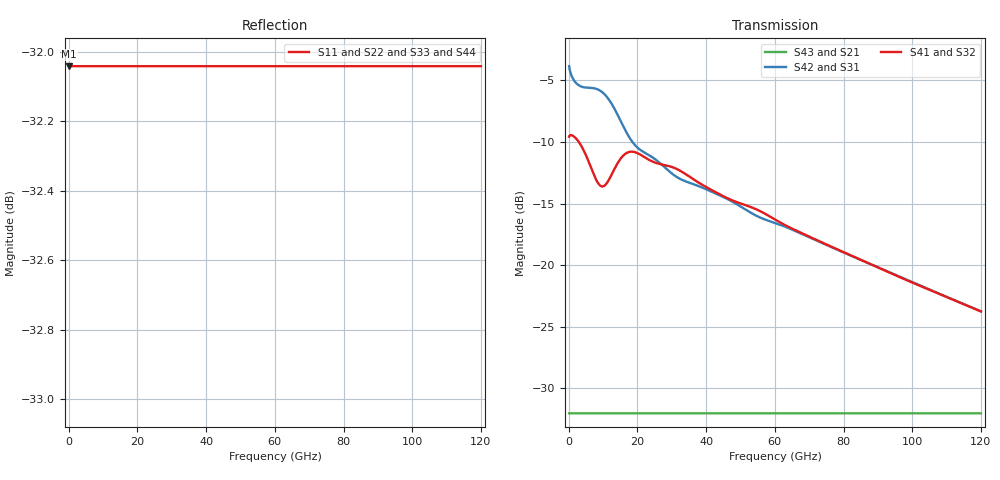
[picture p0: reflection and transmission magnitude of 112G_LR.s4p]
! Created with skrf 1.12.0 (http://scikit-rf.org).
# Hz S RI R 50.0
!freq ReS11 ImS11 ReS12 ImS12 ReS13 ImS13
! ReS14 ImS14
! ReS21 ImS21 ReS22 ImS22 ReS23 ImS23
! ReS24 ImS24
! ReS31 ImS31 ReS32 ImS32 ReS33 ImS33
! ReS34 ImS34
! ReS41 ImS41 ReS42 ImS42 ReS43 ImS43
! ReS44 ImS44
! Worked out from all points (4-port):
!   1200 points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, 100 MHz to 120 GHz, reference 50 ohm
!   strongest paths, dB at 100 MHz, 30.1 GHz, 60.1 GHz, 90.1 GHz, 120 GHz:
!     S41: -9.6, -12.0, -16.3, -20.2, -23.8
!     S32: -9.6, -12.0, -16.3, -20.2, -23.8
!     S42: -3.8, -12.6, -16.6, -20.2, -23.8
!     S31: -3.8, -12.6, -16.6, -20.2, -23.8
!     S43: -32.0, -32.0, -32.0, -32.0, -32.0
!     S21: -32.0, -32.0, -32.0, -32.0, -32.0
!   lowest |S11| = -32.0 dB at 100 MHz (marker M1), VSWR 1.05, Z = 52.6 + j0 ohm
!   |S11| at or under -10 dB: start of sweep to end of sweep
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1e8  0.025 0  -0.025 0  0.6376 -0.0787  0.331 -0.0292
     -0.025 0  0.025 0  0.331 -0.0292  0.6376 -0.0787
     0.6376 -0.0787  0.331 -0.0292  0.025 0  -0.025 0
     0.331 -0.0292  0.6376 -0.0787  -0.025 0  0.025 0
3.4e9  0.025 0  -0.025 0  -0.5313 -0.0369  -0.3056 0.045
       -0.025 0  0.025 0  -0.3056 0.045  -0.5313 -0.0369
       -0.5313 -0.0369  -0.3056 0.045  0.025 0  -0.025 0
       -0.3056 0.045  -0.5313 -0.0369  -0.025 0  0.025 0
6.9e9  0.025 0  -0.025 0  0.5237 0.00471  0.2356 -0.0467
       -0.025 0  0.025 0  0.2356 -0.0467  0.5237 0.00471
       0.5237 0.00471  0.2356 -0.0467  0.025 0  -0.025 0
       0.2356 -0.0467  0.5237 0.00471  -0.025 0  0.025 0
1.02e10  0.025 0  -0.025 0  -0.4971 -0.0141  -0.2045 -0.0448
         -0.025 0  0.025 0  -0.2045 -0.0448  -0.4971 -0.0141
         -0.4971 -0.0141  -0.2045 -0.0448  0.025 0  -0.025 0
         -0.2045 -0.0448  -0.4971 -0.0141  -0.025 0  0.025 0
1.35e10  0.025 0  -0.025 0  0.426 0.0186  0.2141 0.1265
         -0.025 0  0.025 0  0.2141 0.1265  0.426 0.0186
         0.426 0.0186  0.2141 0.1265  0.025 0  -0.025 0
         0.2141 0.1265  0.426 0.0186  -0.025 0  0.025 0
1.69e10  0.025 0  -0.025 0  -0.3432 -0.0221  -0.2479 -0.1416
         -0.025 0  0.025 0  -0.2479 -0.1416  -0.3432 -0.0221
         -0.3432 -0.0221  -0.2479 -0.1416  0.025 0  -0.025 0
         -0.2479 -0.1416  -0.3432 -0.0221  -0.025 0  0.025 0
1.2e11  0.025 0  -0.025 0  -0.0622 -0.0185  -0.0621 -0.0185
        -0.025 0  0.025 0  -0.0621 -0.0185  -0.0622 -0.0185
        -0.0622 -0.0185  -0.0621 -0.0185  0.025 0  -0.025 0
        -0.0621 -0.0185  -0.0622 -0.0185  -0.025 0  0.025 0
